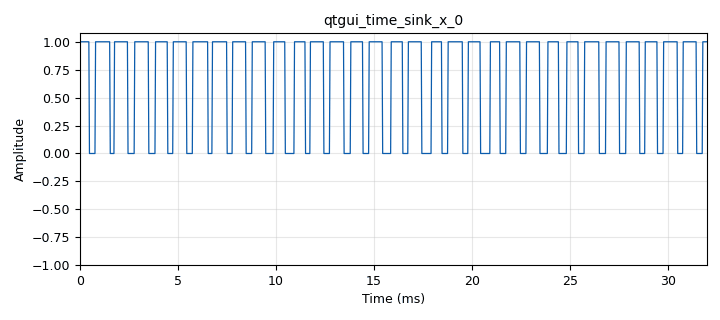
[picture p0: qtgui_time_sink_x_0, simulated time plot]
options:
  parameters:
    author: gpellaeon
    generate_options: qt_gui
    id: signal_thresh
    output_language: python
    title: Signal + Threshold
  states: {}

blocks:
- name: samp_rate
  id: variable
  parameters:
    value: '32000'
  states: {}
- name: analog_random_source_x_0
  id: analog_random_source_x
  parameters:
    max: '2'
    min: '0'
    num_samps: '1000'
    repeat: 'True'
    type: short
  states: {}
- name: analog_sig_source_x_0
  id: analog_sig_source_x
  parameters:
    amp: '1'
    freq: '1000'
    offset: '0'
    phase: '0'
    samp_rate: samp_rate
    type: float
    waveform: analog.GR_COS_WAVE
  states: {}
- name: blocks_add_xx_0
  id: blocks_add_xx
  parameters:
    type: float
  states: {}
- name: blocks_short_to_float_0
  id: blocks_short_to_float
  parameters:
    scale: '1'
  states: {}
- name: blocks_threshold_ff_0
  id: blocks_threshold_ff
  parameters:
    high: '0.9'
    init: '0'
    low: '-0.9'
  states: {}
- name: blocks_throttle_0
  id: blocks_throttle
  parameters:
    samples_per_second: samp_rate
    type: float
  states: {}
- name: qtgui_time_sink_x_0
  id: qtgui_time_sink_x
  parameters:
    size: '1024'
    srate: samp_rate
    type: float
  states: {}

connections:
- [analog_random_source_x_0, '0', blocks_short_to_float_0, '0']
- [analog_sig_source_x_0, '0', blocks_add_xx_0, '0']
- [blocks_add_xx_0, '0', blocks_threshold_ff_0, '0']
- [blocks_short_to_float_0, '0', blocks_add_xx_0, '1']
- [blocks_threshold_ff_0, '0', blocks_throttle_0, '0']
- [blocks_throttle_0, '0', qtgui_time_sink_x_0, '0']

metadata:
  file_format: 1
